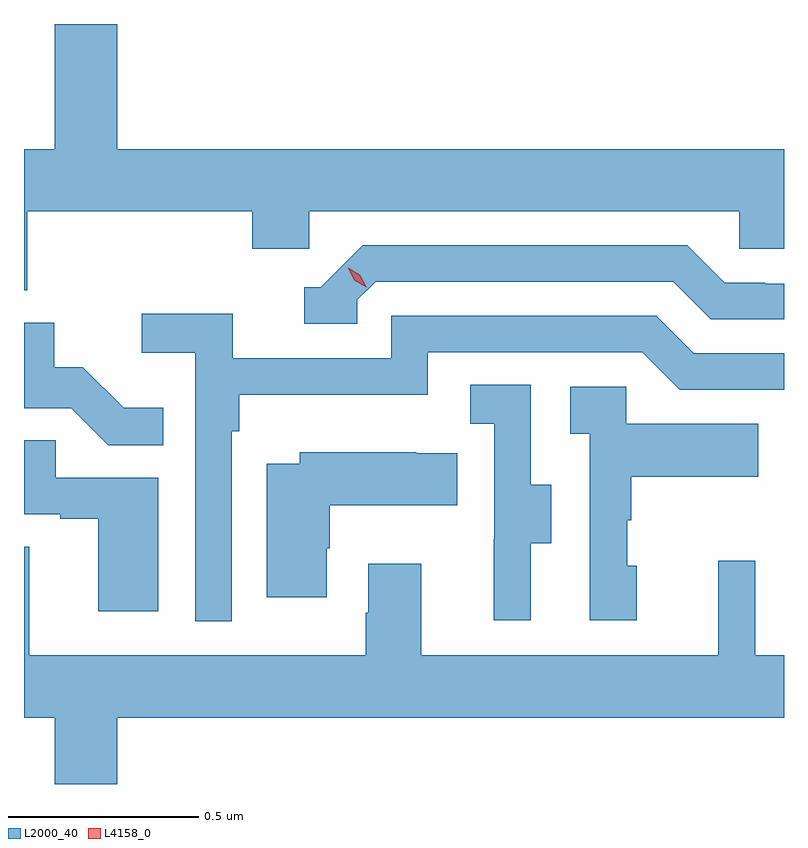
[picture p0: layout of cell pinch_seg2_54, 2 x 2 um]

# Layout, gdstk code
import gdstk
lib = gdstk.Library(unit=1e-6, precision=1e-09)
def P(c, l, *ps):  # polygons
    for p in ps: c.add(gdstk.Polygon(p, *l))
L2000_40 = (2000, 40)
L4158_0 = (4158, 0)

pinch_seg2_54 = lib.new_cell('pinch_seg2_54')
P(pinch_seg2_54, L2000_40, [(1076.024,663.62),(1076.615,663.62),(1076.615,663.522),(1076.766,663.522),(1076.766,663.62),(1077.897,663.62),(1077.897,663.522),(1078.015,663.522),(1078.015,663.784),(1076.26,663.784),(1076.26,664.113),(1076.096,664.113),(1076.096,663.784),(1076.015,663.784),(1076.015,663.412),(1076.024,663.412)],
  [(1076.892,663.387),(1076.94,663.435),(1077.723,663.435),(1077.822,663.336),(1078.015,663.336),(1078.015,663.429),(1077.966,663.429),(1077.966,663.432),(1077.859,663.432),(1077.76,663.531),(1076.907,663.531),(1076.796,663.42),(1076.753,663.42),(1076.753,663.324),(1076.892,663.324)],
  [(1076.562,663.041),(1076.582,663.041),(1076.582,663.137),(1077.078,663.137),(1077.078,663.249),(1077.642,663.249),(1077.741,663.15),(1078.015,663.15),(1078.015,663.246),(1077.778,663.246),(1077.679,663.345),(1076.982,663.345),(1076.982,663.234),(1076.564,663.234),(1076.564,663.35),(1076.325,663.35),(1076.325,663.248),(1076.466,663.248),(1076.466,662.541),(1076.562,662.541)],
  [(1076.381,663.103),(1076.277,663.103),(1076.17,663.21),(1076.094,663.21),(1076.094,663.327),(1076.015,663.327),(1076.015,663.102),(1076.139,663.102),(1076.237,663.004),(1076.381,663.004)],
  [(1077.349,662.746),(1077.403,662.746),(1077.403,662.901),(1077.348,662.901),(1077.348,663.164),(1077.189,663.164),(1077.189,663.061),(1077.252,663.061),(1077.252,662.757),(1077.251,662.757),(1077.251,662.544),(1077.349,662.544)],
  [(1077.628,662.688),(1077.603,662.688),(1077.603,662.807),(1077.613,662.807),(1077.613,662.921),(1077.947,662.921),(1077.947,663.061),(1077.6,663.061),(1077.6,663.159),(1077.453,663.159),(1077.453,663.035),(1077.504,663.035),(1077.504,662.544),(1077.628,662.544)],
  [(1076.368,662.919),(1076.099,662.919),(1076.099,663.017),(1076.015,663.017),(1076.015,662.823),(1076.111,662.823),(1076.111,662.811),(1076.21,662.811),(1076.21,662.568),(1076.368,662.568)],
  [(1076.812,662.733),(1076.82,662.733),(1076.82,662.846),(1077.155,662.846),(1077.155,662.983),(1077.047,662.983),(1077.047,662.986),(1076.741,662.986),(1076.741,662.956),(1076.654,662.956),(1076.654,662.604),(1076.812,662.604)],
  [(1076.26,662.288),(1078.015,662.288),(1078.015,662.452),(1077.939,662.452),(1077.939,662.701),(1077.842,662.701),(1077.842,662.452),(1077.061,662.452),(1077.061,662.692),(1076.921,662.692),(1076.921,662.564),(1076.914,662.564),(1076.914,662.452),(1076.029,662.452),(1076.029,662.738),(1076.015,662.738),(1076.015,662.288),(1076.096,662.288),(1076.096,662.113),(1076.26,662.113)])
P(pinch_seg2_54, L4158_0, [(1076.915,663.42),(1076.884,663.439),(1076.868,663.472),(1076.868,663.472),(1076.868,663.472),(1076.899,663.453),(1076.915,663.421),(1076.915,663.42)])

lib.write_gds('pinch_seg2_54.gds')
